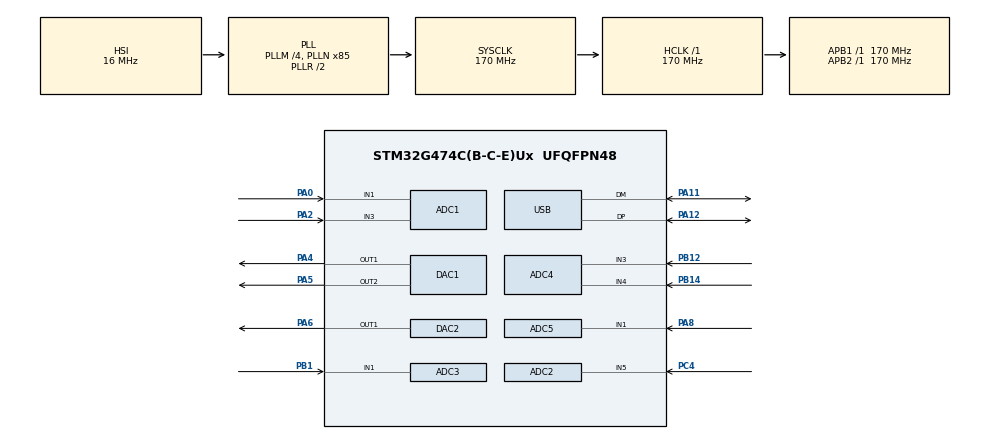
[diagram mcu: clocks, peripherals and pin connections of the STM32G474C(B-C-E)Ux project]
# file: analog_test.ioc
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ADC1.Channel-4\#ChannelRegularConversion=ADC_CHANNEL_1
ADC1.Channel-5\#ChannelRegularConversion=ADC_CHANNEL_3
ADC1.ClockPrescaler=ADC_CLOCK_ASYNC_DIV4
ADC1.EOCSelection=ADC_EOC_SEQ_CONV
ADC1.ExternalTrigConv=ADC_EXTERNALTRIG_T4_TRGO
ADC1.ExternalTrigConvEdge=ADC_EXTERNALTRIGCONVEDGE_RISING
ADC1.NbrOfConversion=2
ADC1.NbrOfConversionFlag=1
ADC1.OffsetNumber-4\#ChannelRegularConversion=ADC_OFFSET_NONE
ADC1.OffsetNumber-5\#ChannelRegularConversion=ADC_OFFSET_NONE
ADC1.OversamplingMode=DISABLE
ADC1.Rank-4\#ChannelRegularConversion=1
ADC1.Rank-5\#ChannelRegularConversion=2
ADC1.SamplingTime-4\#ChannelRegularConversion=ADC_SAMPLETIME_2CYCLES_5
ADC1.SamplingTime-5\#ChannelRegularConversion=ADC_SAMPLETIME_2CYCLES_5
ADC1.master=1
ADC2.Channel-0\#ChannelRegularConversion=ADC_CHANNEL_5
ADC2.ClockPrescaler=ADC_CLOCK_ASYNC_DIV4
ADC2.ExternalTrigConv=ADC_EXTERNALTRIG_T4_TRGO
ADC2.NbrOfConversion=1
ADC2.NbrOfConversionFlag=1
ADC2.OffsetNumber-0\#ChannelRegularConversion=ADC_OFFSET_NONE
ADC2.Rank-0\#ChannelRegularConversion=1
ADC2.SamplingTime-0\#ChannelRegularConversion=ADC_SAMPLETIME_2CYCLES_5
ADC3.Channel-1\#ChannelRegularConversion=ADC_CHANNEL_1
ADC3.ExternalTrigConv=ADC_EXTERNALTRIG_T4_TRGO
ADC3.NbrOfConversion=1
ADC3.NbrOfConversionFlag=1
ADC3.OffsetNumber-1\#ChannelRegularConversion=ADC_OFFSET_NONE
ADC3.Rank-1\#ChannelRegularConversion=1
ADC3.SamplingTime-1\#ChannelRegularConversion=ADC_SAMPLETIME_2CYCLES_5
ADC3.master=1
ADC4.Channel-0\#ChannelRegularConversion=ADC_CHANNEL_3
ADC4.Channel-2\#ChannelRegularConversion=ADC_CHANNEL_4
ADC4.ExternalTrigConv=ADC_EXTERNALTRIG_T4_TRGO
ADC4.NbrOfConversion=2
ADC4.NbrOfConversionFlag=1
ADC4.OffsetNumber-0\#ChannelRegularConversion=ADC_OFFSET_NONE
ADC4.OffsetNumber-2\#ChannelRegularConversion=ADC_OFFSET_NONE
ADC4.Rank-0\#ChannelRegularConversion=1
ADC4.Rank-2\#ChannelRegularConversion=2
ADC4.SamplingTime-0\#ChannelRegularConversion=ADC_SAMPLETIME_2CYCLES_5
ADC4.SamplingTime-2\#ChannelRegularConversion=ADC_SAMPLETIME_2CYCLES_5
ADC5.Channel-1\#ChannelRegularConversion=ADC_CHANNEL_1
ADC5.ExternalTrigConv=ADC_EXTERNALTRIG_T4_TRGO
ADC5.NbrOfConversion=1
ADC5.NbrOfConversionFlag=1
ADC5.OffsetNumber-1\#ChannelRegularConversion=ADC_OFFSET_NONE
ADC5.Rank-1\#ChannelRegularConversion=1
ADC5.SamplingTime-1\#ChannelRegularConversion=ADC_SAMPLETIME_2CYCLES_5
DAC1.DAC_Channel-DAC_OUT2=DAC_CHANNEL_2
DAC1.DAC_DMADoubleDataMode-DAC_OUT1=DISABLE
DAC1.DAC_HighFrequency_OUT1-DAC_OUT1=DAC_HIGH_FREQUENCY_INTERFACE_MODE_ABOVE_160MHZ
DAC1.DAC_Trigger2_OUT1-DAC_OUT1=DAC_TRIGGER_NONE
DAC1.DAC_Trigger_OUT1-DAC_OUT1=DAC_TRIGGER_T3_TRGO
DAC1.DAC_Trigger_OUT2-DAC_OUT2=DAC_TRIGGER_T3_TRGO
DAC1.WaveGeneration_OUT1-DAC_OUT1=DISABLE
DAC2.DAC_HighFrequency_OUT1-DAC_OUT1=DAC_HIGH_FREQUENCY_INTERFACE_MODE_ABOVE_160MHZ
DAC2.DAC_Trigger_OUT1-DAC_OUT1=DAC_TRIGGER_T3_TRGO
Dma.ADC1.3.Direction=DMA_PERIPH_TO_MEMORY
Dma.ADC1.3.EventEnable=DISABLE
Dma.ADC1.3.Instance=DMA1_Channel4
Dma.ADC1.3.MemDataAlignment=DMA_MDATAALIGN_HALFWORD
Dma.ADC1.3.MemInc=DMA_MINC_ENABLE
Dma.ADC1.3.Mode=DMA_NORMAL
Dma.ADC1.3.PeriphDataAlignment=DMA_PDATAALIGN_HALFWORD
Dma.ADC1.3.PeriphInc=DMA_PINC_DISABLE
Dma.ADC1.3.Polarity=HAL_DMAMUX_REQ_GEN_RISING
Dma.ADC1.3.Priority=DMA_PRIORITY_LOW
Dma.ADC1.3.RequestNumber=1
Dma.ADC1.3.SignalID=NONE
Dma.ADC1.3.SyncEnable=DISABLE
Dma.ADC1.3.SyncPolarity=HAL_DMAMUX_SYNC_NO_EVENT
Dma.ADC1.3.SyncRequestNumber=1
Dma.ADC1.3.SyncSignalID=NONE
Dma.ADC2.4.Direction=DMA_PERIPH_TO_MEMORY
Dma.ADC2.4.EventEnable=DISABLE
Dma.ADC2.4.Instance=DMA1_Channel5
Dma.ADC2.4.MemDataAlignment=DMA_MDATAALIGN_HALFWORD
Dma.ADC2.4.MemInc=DMA_MINC_ENABLE
Dma.ADC2.4.Mode=DMA_NORMAL
Dma.ADC2.4.PeriphDataAlignment=DMA_PDATAALIGN_HALFWORD
Dma.ADC2.4.PeriphInc=DMA_PINC_DISABLE
Dma.ADC2.4.Polarity=HAL_DMAMUX_REQ_GEN_RISING
Dma.ADC2.4.Priority=DMA_PRIORITY_LOW
Dma.ADC2.4.RequestNumber=1
Dma.ADC2.4.SignalID=NONE
Dma.ADC2.4.SyncEnable=DISABLE
Dma.ADC2.4.SyncPolarity=HAL_DMAMUX_SYNC_NO_EVENT
Dma.ADC2.4.SyncRequestNumber=1
Dma.ADC2.4.SyncSignalID=NONE
Dma.ADC3.5.Direction=DMA_PERIPH_TO_MEMORY
Dma.ADC3.5.EventEnable=DISABLE
Dma.ADC3.5.Instance=DMA1_Channel6
Dma.ADC3.5.MemDataAlignment=DMA_MDATAALIGN_HALFWORD
Dma.ADC3.5.MemInc=DMA_MINC_ENABLE
Dma.ADC3.5.Mode=DMA_NORMAL
Dma.ADC3.5.PeriphDataAlignment=DMA_PDATAALIGN_HALFWORD
Dma.ADC3.5.PeriphInc=DMA_PINC_DISABLE
Dma.ADC3.5.Polarity=HAL_DMAMUX_REQ_GEN_RISING
Dma.ADC3.5.Priority=DMA_PRIORITY_LOW
Dma.ADC3.5.RequestNumber=1
Dma.ADC3.5.SignalID=NONE
Dma.ADC3.5.SyncEnable=DISABLE
Dma.ADC3.5.SyncPolarity=HAL_DMAMUX_SYNC_NO_EVENT
Dma.ADC3.5.SyncRequestNumber=1
Dma.ADC3.5.SyncSignalID=NONE
Dma.ADC4.7.Direction=DMA_PERIPH_TO_MEMORY
Dma.ADC4.7.EventEnable=DISABLE
Dma.ADC4.7.Instance=DMA1_Channel8
Dma.ADC4.7.MemDataAlignment=DMA_MDATAALIGN_HALFWORD
Dma.ADC4.7.MemInc=DMA_MINC_ENABLE
Dma.ADC4.7.Mode=DMA_NORMAL
Dma.ADC4.7.PeriphDataAlignment=DMA_PDATAALIGN_HALFWORD
Dma.ADC4.7.PeriphInc=DMA_PINC_DISABLE
Dma.ADC4.7.Polarity=HAL_DMAMUX_REQ_GEN_RISING
Dma.ADC4.7.Priority=DMA_PRIORITY_LOW
Dma.ADC4.7.RequestNumber=1
Dma.ADC4.7.SignalID=NONE
Dma.ADC4.7.SyncEnable=DISABLE
Dma.ADC4.7.SyncPolarity=HAL_DMAMUX_SYNC_NO_EVENT
Dma.ADC4.7.SyncRequestNumber=1
Dma.ADC4.7.SyncSignalID=NONE
Dma.ADC5.6.Direction=DMA_PERIPH_TO_MEMORY
Dma.ADC5.6.EventEnable=DISABLE
Dma.ADC5.6.Instance=DMA1_Channel7
Dma.ADC5.6.MemDataAlignment=DMA_MDATAALIGN_HALFWORD
Dma.ADC5.6.MemInc=DMA_MINC_ENABLE
Dma.ADC5.6.Mode=DMA_NORMAL
Dma.ADC5.6.PeriphDataAlignment=DMA_PDATAALIGN_HALFWORD
Dma.ADC5.6.PeriphInc=DMA_PINC_DISABLE
Dma.ADC5.6.Polarity=HAL_DMAMUX_REQ_GEN_RISING
Dma.ADC5.6.Priority=DMA_PRIORITY_LOW
Dma.ADC5.6.RequestNumber=1
Dma.ADC5.6.SignalID=NONE
Dma.ADC5.6.SyncEnable=DISABLE
Dma.ADC5.6.SyncPolarity=HAL_DMAMUX_SYNC_NO_EVENT
Dma.ADC5.6.SyncRequestNumber=1
Dma.ADC5.6.SyncSignalID=NONE
Dma.DAC1_CH1.0.Direction=DMA_MEMORY_TO_PERIPH
Dma.DAC1_CH1.0.EventEnable=DISABLE
Dma.DAC1_CH1.0.Instance=DMA1_Channel1
Dma.DAC1_CH1.0.MemDataAlignment=DMA_MDATAALIGN_HALFWORD
Dma.DAC1_CH1.0.MemInc=DMA_MINC_ENABLE
Dma.DAC1_CH1.0.Mode=DMA_CIRCULAR
Dma.DAC1_CH1.0.PeriphDataAlignment=DMA_PDATAALIGN_WORD
Dma.DAC1_CH1.0.PeriphInc=DMA_PINC_DISABLE
Dma.DAC1_CH1.0.Polarity=HAL_DMAMUX_REQ_GEN_RISING
Dma.DAC1_CH1.0.Priority=DMA_PRIORITY_LOW
Dma.DAC1_CH1.0.RequestNumber=1
Dma.DAC1_CH1.0.SignalID=NONE
Dma.DAC1_CH1.0.SyncEnable=DISABLE
Dma.DAC1_CH1.0.SyncPolarity=HAL_DMAMUX_SYNC_NO_EVENT
Dma.DAC1_CH1.0.SyncRequestNumber=1
Dma.DAC1_CH1.0.SyncSignalID=NONE
Dma.DAC1_CH2.2.Direction=DMA_MEMORY_TO_PERIPH
Dma.DAC1_CH2.2.EventEnable=DISABLE
Dma.DAC1_CH2.2.Instance=DMA1_Channel2
Dma.DAC1_CH2.2.MemDataAlignment=DMA_MDATAALIGN_HALFWORD
Dma.DAC1_CH2.2.MemInc=DMA_MINC_ENABLE
Dma.DAC1_CH2.2.Mode=DMA_CIRCULAR
Dma.DAC1_CH2.2.PeriphDataAlignment=DMA_PDATAALIGN_WORD
Dma.DAC1_CH2.2.PeriphInc=DMA_PINC_DISABLE
Dma.DAC1_CH2.2.Polarity=HAL_DMAMUX_REQ_GEN_RISING
Dma.DAC1_CH2.2.Priority=DMA_PRIORITY_LOW
Dma.DAC1_CH2.2.RequestNumber=1
Dma.DAC1_CH2.2.SignalID=NONE
Dma.DAC1_CH2.2.SyncEnable=DISABLE
Dma.DAC1_CH2.2.SyncPolarity=HAL_DMAMUX_SYNC_NO_EVENT
Dma.DAC1_CH2.2.SyncRequestNumber=1
Dma.DAC1_CH2.2.SyncSignalID=NONE
Dma.DAC2_CH1.1.Direction=DMA_MEMORY_TO_PERIPH
Dma.DAC2_CH1.1.EventEnable=DISABLE
Dma.DAC2_CH1.1.Instance=DMA1_Channel3
Dma.DAC2_CH1.1.MemDataAlignment=DMA_MDATAALIGN_HALFWORD
Dma.DAC2_CH1.1.MemInc=DMA_MINC_ENABLE
Dma.DAC2_CH1.1.Mode=DMA_CIRCULAR
Dma.DAC2_CH1.1.PeriphDataAlignment=DMA_PDATAALIGN_WORD
Dma.DAC2_CH1.1.PeriphInc=DMA_PINC_DISABLE
Dma.DAC2_CH1.1.Polarity=HAL_DMAMUX_REQ_GEN_RISING
Dma.DAC2_CH1.1.Priority=DMA_PRIORITY_LOW
Dma.DAC2_CH1.1.RequestNumber=1
Dma.DAC2_CH1.1.SignalID=NONE
Dma.DAC2_CH1.1.SyncEnable=DISABLE
Dma.DAC2_CH1.1.SyncPolarity=HAL_DMAMUX_SYNC_NO_EVENT
Dma.DAC2_CH1.1.SyncRequestNumber=1
Dma.DAC2_CH1.1.SyncSignalID=NONE
Dma.Request0=DAC1_CH1
Dma.Request1=DAC2_CH1
Dma.Request2=DAC1_CH2
Dma.Request3=ADC1
Dma.Request4=ADC2
Dma.Request5=ADC3
Dma.Request6=ADC5
Dma.Request7=ADC4
Mcu.Family=STM32G4
Mcu.Name=STM32G474C(B-C-E)Ux
Mcu.Package=UFQFPN48
NVIC.ADC1_2_IRQn=true\:0\:0\:false\:false\:true\:true\:true\:true
NVIC.ADC3_IRQn=true\:0\:0\:false\:false\:true\:true\:true\:true
NVIC.ADC4_IRQn=true\:0\:0\:false\:false\:true\:true\:true\:true
NVIC.ADC5_IRQn=true\:0\:0\:false\:false\:true\:true\:true\:true
NVIC.DMA1_Channel1_IRQn=true\:0\:0\:false\:false\:true\:false\:true\:true
NVIC.DMA1_Channel2_IRQn=true\:0\:0\:false\:false\:true\:false\:true\:true
NVIC.DMA1_Channel3_IRQn=true\:0\:0\:false\:false\:true\:false\:true\:true
NVIC.DMA1_Channel4_IRQn=true\:0\:0\:false\:false\:true\:false\:true\:true
NVIC.DMA1_Channel5_IRQn=true\:0\:0\:false\:false\:true\:false\:true\:true
NVIC.DMA1_Channel6_IRQn=true\:0\:0\:false\:false\:true\:false\:true\:true
NVIC.DMA1_Channel7_IRQn=true\:0\:0\:false\:false\:true\:false\:true\:true
NVIC.DMA1_Channel8_IRQn=true\:0\:0\:false\:false\:true\:false\:true\:true
NVIC.PriorityGroup=NVIC_PRIORITYGROUP_4
NVIC.USB_LP_IRQn=true\:0\:0\:false\:false\:true\:false\:true\:true
PA0.Mode=IN1-Single-Ended
PA0.Signal=ADC1_IN1
PA11.Mode=Device
PA11.Signal=USB_DM
PA12.Mode=Device
PA12.Signal=USB_DP
PA13.Mode=Serial_Wire
PA13.Signal=SYS_JTMS-SWDIO
PA14.Mode=Serial_Wire
PA14.Signal=SYS_JTCK-SWCLK
PA2.Mode=IN3-Single-Ended
PA2.Signal=ADC1_IN3
PA4.Signal=COMP_DAC11_group
PA5.Signal=COMP_DAC12_group
PA6.Signal=COMP_DAC21_group
PA8.Mode=IN1-Single-Ended
PA8.Signal=ADC5_IN1
PB1.Mode=IN1-Single-Ended
PB1.Signal=ADC3_IN1
PB12.Mode=IN3-Single-Ended
PB12.Signal=ADC4_IN3
PB14.Mode=IN4-Single-Ended
PB14.Signal=ADC4_IN4
PC14-OSC32_IN.Mode=LSE-External-Oscillator
PC14-OSC32_IN.Signal=RCC_OSC32_IN
PC15-OSC32_OUT.Mode=LSE-External-Oscillator
PC15-OSC32_OUT.Signal=RCC_OSC32_OUT
PC4.Mode=IN5-Single-Ended
PC4.Signal=ADC2_IN5
PF0-OSC_IN.Mode=HSE-External-Oscillator
PF0-OSC_IN.Signal=RCC_OSC_IN
PF1-OSC_OUT.Mode=HSE-External-Oscillator
PF1-OSC_OUT.Signal=RCC_OSC_OUT
ProjectManager.HeapSize=0x200
ProjectManager.StackSize=0x400
ProjectManager.TargetToolchain=STM32CubeIDE
RCC.ADC12Freq_Value=170000000
RCC.ADC345Freq_Value=170000000
RCC.AHBFreq_Value=170000000
RCC.APB1Freq_Value=170000000
RCC.APB1TimFreq_Value=170000000
RCC.APB2Freq_Value=170000000
RCC.APB2TimFreq_Value=170000000
RCC.CK48CLockSelection=RCC_USBCLKSOURCE_HSI48
RCC.CortexFreq_Value=170000000
RCC.EXTERNAL_CLOCK_VALUE=12288000
RCC.HCLKFreq_Value=170000000
RCC.HSE_VALUE=8000000
RCC.HSI48_VALUE=48000000
RCC.HSI_VALUE=16000000
RCC.PLLM=RCC_PLLM_DIV4
RCC.PLLN=85
RCC.PREFETCH_ENABLE=1
RCC.SYSCLKFreq_VALUE=170000000
RCC.SYSCLKSource=RCC_SYSCLKSOURCE_PLLCLK
RCC.USBFreq_Value=48000000
RCC.VCOOutputFreq_Value=340000000
SH.COMP_DAC11_group.0=DAC1_OUT1,DAC_OUT1
SH.COMP_DAC12_group.0=DAC1_OUT2,DAC_OUT2
SH.COMP_DAC21_group.0=DAC2_OUT1,DAC_OUT1
TIM2.AutoReloadPreload=TIM_AUTORELOAD_PRELOAD_ENABLE
TIM2.Prescaler=169
TIM3.AutoReloadPreload=TIM_AUTORELOAD_PRELOAD_ENABLE
TIM3.PeriodNoDither=22
TIM3.Prescaler=169
TIM3.TIM_MasterOutputTrigger=TIM_TRGO_UPDATE
TIM4.AutoReloadPreload=TIM_AUTORELOAD_PRELOAD_ENABLE
TIM4.Prescaler=169
TIM4.TIM_MasterOutputTrigger=TIM_TRGO_UPDATE
USB_DEVICE.CLASS_NAME_FS=CDC
USB_DEVICE.VirtualMode=Cdc
USB_DEVICE.VirtualModeFS=Cdc_FS
VP_SYS_VS_DBSignals.Mode=DisableDeadBatterySignals
VP_TIM2_VS_ClockSourceINT.Mode=Internal
VP_TIM3_VS_ClockSourceINT.Mode=Internal
VP_TIM4_VS_ClockSourceINT.Mode=Internal
VP_USB_DEVICE_VS_USB_DEVICE_CDC_FS.Mode=CDC_FS
board=custom

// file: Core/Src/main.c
/* USER CODE BEGIN Header */
/**
  ******************************************************************************
  * @file           : main.c
  * @brief          : Main program body
  ******************************************************************************
  * @attention
  *
  * Copyright (c) 2025 STMicroelectronics.
  * All rights reserved.
  *
  * This software is licensed under terms that can be found in the LICENSE file
  * in the root directory of this software component.
  * If no LICENSE file comes with this software, it is provided AS-IS.
  *
  ******************************************************************************
  */
/* USER CODE END Header */
#include "main.h"
#include "usb_device.h"

/* USER CODE BEGIN Includes */
#include <math.h>
#include "usbd_cdc_if.h"
/* USER CODE END Includes */

/* USER CODE BEGIN PD */
#define DAC_LEN  300
#define ADC_LEN  300

#define ADC1_CHANNELS 2
#define ADC2_CHANNELS 1
#define ADC3_CHANNELS 1
#define ADC4_CHANNELS 2
#define ADC5_CHANNELS 1

#define CHANNELS (ADC1_CHANNELS+ADC2_CHANNELS+ADC3_CHANNELS+ADC4_CHANNELS+ADC5_CHANNELS)
/* USER CODE END PD */

/* USER CODE BEGIN PM */
#define R_SW adc_sw
#define W_SW (adc_sw+1)%2
#define OFF_ADC1  (ADC_LEN * (0))
#define OFF_ADC2  (ADC_LEN * (ADC1_CHANNELS))
#define OFF_ADC3  (ADC_LEN * (ADC1_CHANNELS + ADC2_CHANNELS))
#define OFF_ADC4  (ADC_LEN * (ADC1_CHANNELS + ADC2_CHANNELS + ADC3_CHANNELS))
#define OFF_ADC5  (ADC_LEN * (ADC1_CHANNELS + ADC2_CHANNELS + ADC3_CHANNELS + ADC4_CHANNELS))

/* USER CODE END PM */

ADC_HandleTypeDef hadc1;
ADC_HandleTypeDef hadc2;
ADC_HandleTypeDef hadc3;
ADC_HandleTypeDef hadc4;
ADC_HandleTypeDef hadc5;
DMA_HandleTypeDef hdma_adc1;
DMA_HandleTypeDef hdma_adc2;
DMA_HandleTypeDef hdma_adc3;
DMA_HandleTypeDef hdma_adc4;
DMA_HandleTypeDef hdma_adc5;

DAC_HandleTypeDef hdac1;
DAC_HandleTypeDef hdac2;
DMA_HandleTypeDef hdma_dac1_ch1;
DMA_HandleTypeDef hdma_dac1_ch2;
DMA_HandleTypeDef hdma_dac2_ch1;

TIM_HandleTypeDef htim2;
TIM_HandleTypeDef htim3;
TIM_HandleTypeDef htim4;

/* USER CODE BEGIN PV */

uint16_t adc_val[2][ADC_LEN*CHANNELS] = {0,};
uint16_t dac10_val[DAC_LEN] = {0,};
uint16_t dac11_val[DAC_LEN] = {0,};
uint16_t dac20_val[DAC_LEN] = {0,};

uint8_t adc_sw = 0;
uint8_t flag_adcReady[5] = {0,};

uint16_t *adc1_val_w;
uint16_t *adc2_val_w;
uint16_t *adc3_val_w;
uint16_t *adc4_val_w;
uint16_t *adc5_val_w;

uint16_t *adc1_val_r;
uint16_t *adc2_val_r;
uint16_t *adc3_val_r;
uint16_t *adc4_val_r;
uint16_t *adc5_val_r;
/* USER CODE END PV */

void SystemClock_Config(void);
static void MX_GPIO_Init(void);
static void MX_DMA_Init(void);
static void MX_DAC1_Init(void);
static void MX_DAC2_Init(void);
static void MX_TIM2_Init(void);
static void MX_TIM3_Init(void);
static void MX_ADC1_Init(void);
static void MX_TIM4_Init(void);
static void MX_ADC2_Init(void);
static void MX_ADC3_Init(void);
static void MX_ADC4_Init(void);
static void MX_ADC5_Init(void);
/* USER CODE BEGIN PFP */
void setPeriod(uint32_t period_us);

int _write(int file, char *ptr, int len)
{
  (void)file;
  int DataIdx;

  CDC_Transmit_FS(ptr, len);
//  for (DataIdx = 0; DataIdx < len; DataIdx++)
//  {
//    __io_putchar(*ptr++);
//  }
  return len;
}

void shiftADCMem(void){
	adc_sw = (adc_sw+1)%2;
	adc1_val_w = &adc_val[W_SW][OFF_ADC1];
	adc2_val_w = &adc_val[W_SW][OFF_ADC2];
	adc3_val_w = &adc_val[W_SW][OFF_ADC3];
	adc4_val_w = &adc_val[W_SW][OFF_ADC4];
	adc5_val_w = &adc_val[W_SW][OFF_ADC5];
	adc1_val_r = &adc_val[R_SW][OFF_ADC1];
	adc2_val_r = &adc_val[R_SW][OFF_ADC2];
	adc3_val_r = &adc_val[R_SW][OFF_ADC3];
	adc4_val_r = &adc_val[R_SW][OFF_ADC4];
	adc5_val_r = &adc_val[R_SW][OFF_ADC5];
}
/* USER CODE END PFP */

int main(void)
{

  /* USER CODE BEGIN 1 */
	float nth = 3;
	int period = 1000000/60/nth/DAC_LEN;

  /* USER CODE END 1 */

  /* MCU Configuration--------------------------------------------------------*/

  /* Reset of all peripherals, Initializes the Flash interface and the Systick. */
  HAL_Init();

  /* Configure the system clock */
  SystemClock_Config();

  /* Initialize all configured peripherals */
  MX_GPIO_Init();
  MX_DMA_Init();
  MX_DAC1_Init();
  MX_DAC2_Init();
  MX_TIM2_Init();
  MX_TIM3_Init();
  MX_ADC1_Init();
  MX_USB_Device_Init();
  MX_TIM4_Init();
  MX_ADC2_Init();
  MX_ADC3_Init();
  MX_ADC4_Init();
  MX_ADC5_Init();
  /* USER CODE BEGIN 2 */

	adc1_val_w = &adc_val[W_SW][OFF_ADC1];
	adc2_val_w = &adc_val[W_SW][OFF_ADC2];
	adc3_val_w = &adc_val[W_SW][OFF_ADC3];
	adc4_val_w = &adc_val[W_SW][OFF_ADC4];
	adc5_val_w = &adc_val[W_SW][OFF_ADC5];
	adc1_val_r = &adc_val[R_SW][OFF_ADC1];
	adc2_val_r = &adc_val[R_SW][OFF_ADC2];
	adc3_val_r = &adc_val[R_SW][OFF_ADC3];
	adc4_val_r = &adc_val[R_SW][OFF_ADC4];
	adc5_val_r = &adc_val[R_SW][OFF_ADC5];

  for (int i = 0; i < DAC_LEN; i++) {
      float s1 = sinf(2.0f * M_PI * nth * (float)i / (float)DAC_LEN);
      float s2 = sinf(2.0f * M_PI * nth * (float)i / (float)DAC_LEN + 2.0f * M_PI / 3.0f);
      float s3 = sinf(2.0f * M_PI * nth * (float)i / (float)DAC_LEN - 2.0f * M_PI / 3.0f);
      uint16_t v1 = (uint16_t)(1300.0f * s1 + 2048.0f);
      uint16_t v2 = (uint16_t)(1300.0f * s2 + 2048.0f);
      uint16_t v3 = (uint16_t)(1300.0f * s3 + 2048.0f);
      dac10_val[i] = v1;
      dac11_val[i] = v2;
      dac20_val[i] = v3;
  }
  setPeriod(period);

  HAL_DAC_Start_DMA(&hdac1, DAC_CHANNEL_1, (uint32_t*)&dac10_val[0], DAC_LEN, DAC_ALIGN_12B_R);
  HAL_DAC_Start_DMA(&hdac1, DAC_CHANNEL_2, (uint32_t*)&dac11_val[0], DAC_LEN, DAC_ALIGN_12B_R);
  HAL_DAC_Start_DMA(&hdac2, DAC_CHANNEL_1, (uint32_t*)&dac20_val[0], DAC_LEN, DAC_ALIGN_12B_R);

  //HAL_TIM_Base_Start(&htim2);
  HAL_TIM_Base_Start(&htim3);

  HAL_ADC_Start_DMA(&hadc1, (uint32_t*)adc1_val_w, ADC_LEN*ADC1_CHANNELS);
  HAL_ADC_Start_DMA(&hadc2, (uint32_t*)adc2_val_w, ADC_LEN*ADC2_CHANNELS);
  HAL_ADC_Start_DMA(&hadc3, (uint32_t*)adc3_val_w, ADC_LEN*ADC3_CHANNELS);
  HAL_ADC_Start_DMA(&hadc4, (uint32_t*)adc4_val_w, ADC_LEN*ADC4_CHANNELS);
  HAL_ADC_Start_DMA(&hadc5, (uint32_t*)adc5_val_w, ADC_LEN*ADC5_CHANNELS);
  HAL_TIM_Base_Start(&htim4);
  /* USER CODE END 2 */

  /* Infinite loop */
  /* USER CODE BEGIN WHILE */
  while (1)
  {
	  if(flag_adcReady[0]==1 &&
		  flag_adcReady[1]==1 &&
		  flag_adcReady[2]==1 &&
		  flag_adcReady[3]==1 &&
		  flag_adcReady[4]==1
	  ){
		  shiftADCMem();
		  HAL_ADC_Start_DMA(&hadc1, (uint32_t*)adc1_val_w, ADC_LEN*ADC1_CHANNELS);
		  HAL_ADC_Start_DMA(&hadc2, (uint32_t*)adc2_val_w, ADC_LEN*ADC2_CHANNELS);
		  HAL_ADC_Start_DMA(&hadc3, (uint32_t*)adc3_val_w, ADC_LEN*ADC3_CHANNELS);
		  HAL_ADC_Start_DMA(&hadc4, (uint32_t*)adc4_val_w, ADC_LEN*ADC4_CHANNELS);
		  HAL_ADC_Start_DMA(&hadc5, (uint32_t*)adc5_val_w, ADC_LEN*ADC5_CHANNELS);

		  CDC_Transmit_FS(adc1_val_r, ADC_LEN*sizeof(uint16_t)*CHANNELS);
		  memset(flag_adcReady,0,5);
	  }
    /* USER CODE END WHILE */

  }
}

void SystemClock_Config(void)
{
  RCC_OscInitTypeDef RCC_OscInitStruct = {0};
  RCC_ClkInitTypeDef RCC_ClkInitStruct = {0};

  /** Configure the main internal regulator output voltage
  */
  HAL_PWREx_ControlVoltageScaling(PWR_REGULATOR_VOLTAGE_SCALE1_BOOST);

  /** Initializes the RCC Oscillators according to the specified parameters
  * in the RCC_OscInitTypeDef structure.
  */
  RCC_OscInitStruct.OscillatorType = RCC_OSCILLATORTYPE_HSI|RCC_OSCILLATORTYPE_HSI48;
  RCC_OscInitStruct.HSIState = RCC_HSI_ON;
  RCC_OscInitStruct.HSICalibrationValue = RCC_HSICALIBRATION_DEFAULT;
  RCC_OscInitStruct.HSI48State = RCC_HSI48_ON;
  RCC_OscInitStruct.PLL.PLLState = RCC_PLL_ON;
  RCC_OscInitStruct.PLL.PLLSource = RCC_PLLSOURCE_HSI;
  RCC_OscInitStruct.PLL.PLLM = RCC_PLLM_DIV4;
  RCC_OscInitStruct.PLL.PLLN = 85;
  RCC_OscInitStruct.PLL.PLLP = RCC_PLLP_DIV2;
  RCC_OscInitStruct.PLL.PLLQ = RCC_PLLQ_DIV2;
  RCC_OscInitStruct.PLL.PLLR = RCC_PLLR_DIV2;
  if (HAL_RCC_OscConfig(&RCC_OscInitStruct) != HAL_OK)
  {
    Error_Handler();
  }

  /** Initializes the CPU, AHB and APB buses clocks
  */
  RCC_ClkInitStruct.ClockType = RCC_CLOCKTYPE_HCLK|RCC_CLOCKTYPE_SYSCLK
                              |RCC_CLOCKTYPE_PCLK1|RCC_CLOCKTYPE_PCLK2;
  RCC_ClkInitStruct.SYSCLKSource = RCC_SYSCLKSOURCE_PLLCLK;
  RCC_ClkInitStruct.AHBCLKDivider = RCC_SYSCLK_DIV1;
  RCC_ClkInitStruct.APB1CLKDivider = RCC_HCLK_DIV1;
  RCC_ClkInitStruct.APB2CLKDivider = RCC_HCLK_DIV1;

  if (HAL_RCC_ClockConfig(&RCC_ClkInitStruct, FLASH_LATENCY_4) != HAL_OK)
  {
    Error_Handler();
  }
}

static void MX_ADC1_Init(void)
{

  ADC_MultiModeTypeDef multimode = {0};
  ADC_ChannelConfTypeDef sConfig = {0};

  /** Common config
  */
  hadc1.Instance = ADC1;
  hadc1.Init.ClockPrescaler = ADC_CLOCK_ASYNC_DIV4;
  hadc1.Init.Resolution = ADC_RESOLUTION_12B;
  hadc1.Init.DataAlign = ADC_DATAALIGN_RIGHT;
  hadc1.Init.GainCompensation = 0;
  hadc1.Init.ScanConvMode = ADC_SCAN_ENABLE;
  hadc1.Init.EOCSelection = ADC_EOC_SEQ_CONV;
  hadc1.Init.LowPowerAutoWait = DISABLE;
  hadc1.Init.ContinuousConvMode = DISABLE;
  hadc1.Init.NbrOfConversion = 2;
  hadc1.Init.DiscontinuousConvMode = DISABLE;
  hadc1.Init.ExternalTrigConv = ADC_EXTERNALTRIG_T4_TRGO;
  hadc1.Init.ExternalTrigConvEdge = ADC_EXTERNALTRIGCONVEDGE_RISING;
  hadc1.Init.DMAContinuousRequests = DISABLE;
  hadc1.Init.Overrun = ADC_OVR_DATA_PRESERVED;
  hadc1.Init.OversamplingMode = DISABLE;
  if (HAL_ADC_Init(&hadc1) != HAL_OK)
  {
    Error_Handler();
  }

  /** Configure the ADC multi-mode
  */
  multimode.Mode = ADC_MODE_INDEPENDENT;
  if (HAL_ADCEx_MultiModeConfigChannel(&hadc1, &multimode) != HAL_OK)
  {
    Error_Handler();
  }

  /** Configure Regular Channel
  */
  sConfig.Channel = ADC_CHANNEL_1;
  sConfig.Rank = ADC_REGULAR_RANK_1;
  sConfig.SamplingTime = ADC_SAMPLETIME_2CYCLES_5;
  sConfig.SingleDiff = ADC_SINGLE_ENDED;
  sConfig.OffsetNumber = ADC_OFFSET_NONE;
  sConfig.Offset = 0;
  if (HAL_ADC_ConfigChannel(&hadc1, &sConfig) != HAL_OK)
  {
    Error_Handler();
  }

  /** Configure Regular Channel
  */
  sConfig.Channel = ADC_CHANNEL_3;
  sConfig.Rank = ADC_REGULAR_RANK_2;
  if (HAL_ADC_ConfigChannel(&hadc1, &sConfig) != HAL_OK)
  {
    Error_Handler();
  }

}

static void MX_ADC2_Init(void)
{

  ADC_ChannelConfTypeDef sConfig = {0};

  /** Common config
  */
  hadc2.Instance = ADC2;
  hadc2.Init.ClockPrescaler = ADC_CLOCK_ASYNC_DIV4;
  hadc2.Init.Resolution = ADC_RESOLUTION_12B;
  hadc2.Init.DataAlign = ADC_DATAALIGN_RIGHT;
  hadc2.Init.GainCompensation = 0;
  hadc2.Init.ScanConvMode = ADC_SCAN_DISABLE;
  hadc2.Init.EOCSelection = ADC_EOC_SINGLE_CONV;
  hadc2.Init.LowPowerAutoWait = DISABLE;
  hadc2.Init.ContinuousConvMode = DISABLE;
  hadc2.Init.NbrOfConversion = 1;
  hadc2.Init.DiscontinuousConvMode = DISABLE;
  hadc2.Init.ExternalTrigConv = ADC_EXTERNALTRIG_T4_TRGO;
  hadc2.Init.ExternalTrigConvEdge = ADC_EXTERNALTRIGCONVEDGE_RISING;
  hadc2.Init.DMAContinuousRequests = DISABLE;
  hadc2.Init.Overrun = ADC_OVR_DATA_PRESERVED;
  hadc2.Init.OversamplingMode = DISABLE;
  if (HAL_ADC_Init(&hadc2) != HAL_OK)
  {
    Error_Handler();
  }

  /** Configure Regular Channel
  */
  sConfig.Channel = ADC_CHANNEL_5;
  sConfig.Rank = ADC_REGULAR_RANK_1;
  sConfig.SamplingTime = ADC_SAMPLETIME_2CYCLES_5;
  sConfig.SingleDiff = ADC_SINGLE_ENDED;
  sConfig.OffsetNumber = ADC_OFFSET_NONE;
  sConfig.Offset = 0;
  if (HAL_ADC_ConfigChannel(&hadc2, &sConfig) != HAL_OK)
  {
    Error_Handler();
  }

}

static void MX_ADC3_Init(void)
{

  ADC_MultiModeTypeDef multimode = {0};
  ADC_ChannelConfTypeDef sConfig = {0};

  /** Common config
  */
  hadc3.Instance = ADC3;
  hadc3.Init.ClockPrescaler = ADC_CLOCK_SYNC_PCLK_DIV4;
  hadc3.Init.Resolution = ADC_RESOLUTION_12B;
  hadc3.Init.DataAlign = ADC_DATAALIGN_RIGHT;
  hadc3.Init.GainCompensation = 0;
  hadc3.Init.ScanConvMode = ADC_SCAN_DISABLE;
  hadc3.Init.EOCSelection = ADC_EOC_SINGLE_CONV;
  hadc3.Init.LowPowerAutoWait = DISABLE;
  hadc3.Init.ContinuousConvMode = DISABLE;
  hadc3.Init.NbrOfConversion = 1;
  hadc3.Init.DiscontinuousConvMode = DISABLE;
  hadc3.Init.ExternalTrigConv = ADC_EXTERNALTRIG_T4_TRGO;
  hadc3.Init.ExternalTrigConvEdge = ADC_EXTERNALTRIGCONVEDGE_RISING;
  hadc3.Init.DMAContinuousRequests = DISABLE;
  hadc3.Init.Overrun = ADC_OVR_DATA_PRESERVED;
  hadc3.Init.OversamplingMode = DISABLE;
  if (HAL_ADC_Init(&hadc3) != HAL_OK)
  {
    Error_Handler();
  }

  /** Configure the ADC multi-mode
  */
  multimode.Mode = ADC_MODE_INDEPENDENT;
  if (HAL_ADCEx_MultiModeConfigChannel(&hadc3, &multimode) != HAL_OK)
  {
    Error_Handler();
  }

  /** Configure Regular Channel
  */
  sConfig.Channel = ADC_CHANNEL_1;
  sConfig.Rank = ADC_REGULAR_RANK_1;
  sConfig.SamplingTime = ADC_SAMPLETIME_2CYCLES_5;
  sConfig.SingleDiff = ADC_SINGLE_ENDED;
  sConfig.OffsetNumber = ADC_OFFSET_NONE;
  sConfig.Offset = 0;
  if (HAL_ADC_ConfigChannel(&hadc3, &sConfig) != HAL_OK)
  {
    Error_Handler();
  }

}

static void MX_ADC4_Init(void)
{

  ADC_ChannelConfTypeDef sConfig = {0};

  /** Common config
  */
  hadc4.Instance = ADC4;
  hadc4.Init.ClockPrescaler = ADC_CLOCK_SYNC_PCLK_DIV4;
  hadc4.Init.Resolution = ADC_RESOLUTION_12B;
  hadc4.Init.DataAlign = ADC_DATAALIGN_RIGHT;
  hadc4.Init.GainCompensation = 0;
  hadc4.Init.ScanConvMode = ADC_SCAN_ENABLE;
  hadc4.Init.EOCSelection = ADC_EOC_SINGLE_CONV;
  hadc4.Init.LowPowerAutoWait = DISABLE;
  hadc4.Init.ContinuousConvMode = DISABLE;
  hadc4.Init.NbrOfConversion = 2;
  hadc4.Init.DiscontinuousConvMode = DISABLE;
  hadc4.Init.ExternalTrigConv = ADC_EXTERNALTRIG_T4_TRGO;
  hadc4.Init.ExternalTrigConvEdge = ADC_EXTERNALTRIGCONVEDGE_RISING;
  hadc4.Init.DMAContinuousRequests = DISABLE;
  hadc4.Init.Overrun = ADC_OVR_DATA_PRESERVED;
  hadc4.Init.OversamplingMode = DISABLE;
  if (HAL_ADC_Init(&hadc4) != HAL_OK)
  {
    Error_Handler();
  }

  /** Configure Regular Channel
  */
  sConfig.Channel = ADC_CHANNEL_3;
  sConfig.Rank = ADC_REGULAR_RANK_1;
  sConfig.SamplingTime = ADC_SAMPLETIME_2CYCLES_5;
  sConfig.SingleDiff = ADC_SINGLE_ENDED;
  sConfig.OffsetNumber = ADC_OFFSET_NONE;
  sConfig.Offset = 0;
  if (HAL_ADC_ConfigChannel(&hadc4, &sConfig) != HAL_OK)
  {
    Error_Handler();
  }

  /** Configure Regular Channel
  */
  sConfig.Channel = ADC_CHANNEL_4;
  sConfig.Rank = ADC_REGULAR_RANK_2;
  if (HAL_ADC_ConfigChannel(&hadc4, &sConfig) != HAL_OK)
  {
    Error_Handler();
  }

}

static void MX_ADC5_Init(void)
{

  ADC_ChannelConfTypeDef sConfig = {0};

  /** Common config
  */
  hadc5.Instance = ADC5;
  hadc5.Init.ClockPrescaler = ADC_CLOCK_SYNC_PCLK_DIV4;
  hadc5.Init.Resolution = ADC_RESOLUTION_12B;
  hadc5.Init.DataAlign = ADC_DATAALIGN_RIGHT;
  hadc5.Init.GainCompensation = 0;
  hadc5.Init.ScanConvMode = ADC_SCAN_DISABLE;
  hadc5.Init.EOCSelection = ADC_EOC_SINGLE_CONV;
  hadc5.Init.LowPowerAutoWait = DISABLE;
  hadc5.Init.ContinuousConvMode = DISABLE;
  hadc5.Init.NbrOfConversion = 1;
  hadc5.Init.DiscontinuousConvMode = DISABLE;
  hadc5.Init.ExternalTrigConv = ADC_EXTERNALTRIG_T4_TRGO;
  hadc5.Init.ExternalTrigConvEdge = ADC_EXTERNALTRIGCONVEDGE_RISING;
  hadc5.Init.DMAContinuousRequests = DISABLE;
  hadc5.Init.Overrun = ADC_OVR_DATA_PRESERVED;
  hadc5.Init.OversamplingMode = DISABLE;
  if (HAL_ADC_Init(&hadc5) != HAL_OK)
  {
    Error_Handler();
  }

  /** Configure Regular Channel
  */
  sConfig.Channel = ADC_CHANNEL_1;
  sConfig.Rank = ADC_REGULAR_RANK_1;
  sConfig.SamplingTime = ADC_SAMPLETIME_2CYCLES_5;
  sConfig.SingleDiff = ADC_SINGLE_ENDED;
  sConfig.OffsetNumber = ADC_OFFSET_NONE;
  sConfig.Offset = 0;
  if (HAL_ADC_ConfigChannel(&hadc5, &sConfig) != HAL_OK)
  {
    Error_Handler();
  }

}

static void MX_DAC1_Init(void)
{

  DAC_ChannelConfTypeDef sConfig = {0};

  /** DAC Initialization
  */
  hdac1.Instance = DAC1;
  if (HAL_DAC_Init(&hdac1) != HAL_OK)
  {
    Error_Handler();
  }

  /** DAC channel OUT1 config
  */
  sConfig.DAC_HighFrequency = DAC_HIGH_FREQUENCY_INTERFACE_MODE_ABOVE_160MHZ;
  sConfig.DAC_DMADoubleDataMode = DISABLE;
  sConfig.DAC_SignedFormat = DISABLE;
  sConfig.DAC_SampleAndHold = DAC_SAMPLEANDHOLD_DISABLE;
  sConfig.DAC_Trigger = DAC_TRIGGER_T3_TRGO;
  sConfig.DAC_Trigger2 = DAC_TRIGGER_NONE;
  sConfig.DAC_OutputBuffer = DAC_OUTPUTBUFFER_ENABLE;
  sConfig.DAC_ConnectOnChipPeripheral = DAC_CHIPCONNECT_EXTERNAL;
  sConfig.DAC_UserTrimming = DAC_TRIMMING_FACTORY;
  if (HAL_DAC_ConfigChannel(&hdac1, &sConfig, DAC_CHANNEL_1) != HAL_OK)
  {
    Error_Handler();
  }

  /** DAC channel OUT2 config
  */
  if (HAL_DAC_ConfigChannel(&hdac1, &sConfig, DAC_CHANNEL_2) != HAL_OK)
  {
    Error_Handler();
  }

}

static void MX_DAC2_Init(void)
{

  DAC_ChannelConfTypeDef sConfig = {0};

  /** DAC Initialization
  */
  hdac2.Instance = DAC2;
  if (HAL_DAC_Init(&hdac2) != HAL_OK)
  {
    Error_Handler();
  }

  /** DAC channel OUT1 config
  */
  sConfig.DAC_HighFrequency = DAC_HIGH_FREQUENCY_INTERFACE_MODE_ABOVE_160MHZ;
  sConfig.DAC_DMADoubleDataMode = DISABLE;
  sConfig.DAC_SignedFormat = DISABLE;
  sConfig.DAC_SampleAndHold = DAC_SAMPLEANDHOLD_DISABLE;
  sConfig.DAC_Trigger = DAC_TRIGGER_T3_TRGO;
  sConfig.DAC_Trigger2 = DAC_TRIGGER_NONE;
  sConfig.DAC_OutputBuffer = DAC_OUTPUTBUFFER_ENABLE;
  sConfig.DAC_ConnectOnChipPeripheral = DAC_CHIPCONNECT_EXTERNAL;
  sConfig.DAC_UserTrimming = DAC_TRIMMING_FACTORY;
  if (HAL_DAC_ConfigChannel(&hdac2, &sConfig, DAC_CHANNEL_1) != HAL_OK)
  {
    Error_Handler();
  }

}

static void MX_TIM2_Init(void)
{

  TIM_ClockConfigTypeDef sClockSourceConfig = {0};
  TIM_MasterConfigTypeDef sMasterConfig = {0};

  htim2.Instance = TIM2;
  htim2.Init.Prescaler = 169;
  htim2.Init.CounterMode = TIM_COUNTERMODE_UP;
  htim2.Init.Period = 4294967295;
  htim2.Init.ClockDivision = TIM_CLOCKDIVISION_DIV1;
  htim2.Init.AutoReloadPreload = TIM_AUTORELOAD_PRELOAD_ENABLE;
  if (HAL_TIM_Base_Init(&htim2) != HAL_OK)
  {
    Error_Handler();
  }
  sClockSourceConfig.ClockSource = TIM_CLOCKSOURCE_INTERNAL;
  if (HAL_TIM_ConfigClockSource(&htim2, &sClockSourceConfig) != HAL_OK)
  {
    Error_Handler();
  }
  sMasterConfig.MasterOutputTrigger = TIM_TRGO_RESET;
  sMasterConfig.MasterSlaveMode = TIM_MASTERSLAVEMODE_DISABLE;
  if (HAL_TIMEx_MasterConfigSynchronization(&htim2, &sMasterConfig) != HAL_OK)
  {
    Error_Handler();
  }

}

static void MX_TIM3_Init(void)
{

  TIM_ClockConfigTypeDef sClockSourceConfig = {0};
  TIM_MasterConfigTypeDef sMasterConfig = {0};

  htim3.Instance = TIM3;
  htim3.Init.Prescaler = 169;
  htim3.Init.CounterMode = TIM_COUNTERMODE_UP;
  htim3.Init.Period = 22;
  htim3.Init.ClockDivision = TIM_CLOCKDIVISION_DIV1;
  htim3.Init.AutoReloadPreload = TIM_AUTORELOAD_PRELOAD_ENABLE;
  if (HAL_TIM_Base_Init(&htim3) != HAL_OK)
  {
    Error_Handler();
  }
  sClockSourceConfig.ClockSource = TIM_CLOCKSOURCE_INTERNAL;
  if (HAL_TIM_ConfigClockSource(&htim3, &sClockSourceConfig) != HAL_OK)
  {
    Error_Handler();
  }
  sMasterConfig.MasterOutputTrigger = TIM_TRGO_UPDATE;
  sMasterConfig.MasterSlaveMode = TIM_MASTERSLAVEMODE_DISABLE;
  if (HAL_TIMEx_MasterConfigSynchronization(&htim3, &sMasterConfig) != HAL_OK)
  {
    Error_Handler();
  }

}

static void MX_TIM4_Init(void)
{

  TIM_ClockConfigTypeDef sClockSourceConfig = {0};
  TIM_MasterConfigTypeDef sMasterConfig = {0};

  htim4.Instance = TIM4;
  htim4.Init.Prescaler = 169;
  htim4.Init.CounterMode = TIM_COUNTERMODE_UP;
  htim4.Init.Period = 65535;
  htim4.Init.ClockDivision = TIM_CLOCKDIVISION_DIV1;
  htim4.Init.AutoReloadPreload = TIM_AUTORELOAD_PRELOAD_ENABLE;
  if (HAL_TIM_Base_Init(&htim4) != HAL_OK)
  {
    Error_Handler();
  }
  sClockSourceConfig.ClockSource = TIM_CLOCKSOURCE_INTERNAL;
  if (HAL_TIM_ConfigClockSource(&htim4, &sClockSourceConfig) != HAL_OK)
  {
    Error_Handler();
  }
  sMasterConfig.MasterOutputTrigger = TIM_TRGO_UPDATE;
  sMasterConfig.MasterSlaveMode = TIM_MASTERSLAVEMODE_DISABLE;
  if (HAL_TIMEx_MasterConfigSynchronization(&htim4, &sMasterConfig) != HAL_OK)
  {
    Error_Handler();
  }

}

static void MX_DMA_Init(void)
{

  /* DMA controller clock enable */
  __HAL_RCC_DMAMUX1_CLK_ENABLE();
  __HAL_RCC_DMA1_CLK_ENABLE();

  /* DMA interrupt init */
  /* DMA1_Channel1_IRQn interrupt configuration */
  HAL_NVIC_SetPriority(DMA1_Channel1_IRQn, 0, 0);
  HAL_NVIC_EnableIRQ(DMA1_Channel1_IRQn);
  /* DMA1_Channel2_IRQn interrupt configuration */
  HAL_NVIC_SetPriority(DMA1_Channel2_IRQn, 0, 0);
  HAL_NVIC_EnableIRQ(DMA1_Channel2_IRQn);
  /* DMA1_Channel3_IRQn interrupt configuration */
  HAL_NVIC_SetPriority(DMA1_Channel3_IRQn, 0, 0);
  HAL_NVIC_EnableIRQ(DMA1_Channel3_IRQn);
  /* DMA1_Channel4_IRQn interrupt configuration */
  HAL_NVIC_SetPriority(DMA1_Channel4_IRQn, 0, 0);
  HAL_NVIC_EnableIRQ(DMA1_Channel4_IRQn);
  /* DMA1_Channel5_IRQn interrupt configuration */
  HAL_NVIC_SetPriority(DMA1_Channel5_IRQn, 0, 0);
  HAL_NVIC_EnableIRQ(DMA1_Channel5_IRQn);
  /* DMA1_Channel6_IRQn interrupt configuration */
  HAL_NVIC_SetPriority(DMA1_Channel6_IRQn, 0, 0);
  HAL_NVIC_EnableIRQ(DMA1_Channel6_IRQn);
  /* DMA1_Channel7_IRQn interrupt configuration */
  HAL_NVIC_SetPriority(DMA1_Channel7_IRQn, 0, 0);
  HAL_NVIC_EnableIRQ(DMA1_Channel7_IRQn);
  /* DMA1_Channel8_IRQn interrupt configuration */
  HAL_NVIC_SetPriority(DMA1_Channel8_IRQn, 0, 0);
  HAL_NVIC_EnableIRQ(DMA1_Channel8_IRQn);

}

static void MX_GPIO_Init(void)
{

  /* GPIO Ports Clock Enable */
  __HAL_RCC_GPIOC_CLK_ENABLE();
  __HAL_RCC_GPIOF_CLK_ENABLE();
  __HAL_RCC_GPIOA_CLK_ENABLE();
  __HAL_RCC_GPIOB_CLK_ENABLE();

}

/* USER CODE BEGIN 4 */
void setPeriod(uint32_t period_us)
{
  HAL_TIM_Base_Stop(&htim3);
  HAL_TIM_Base_DeInit(&htim3);
  HAL_TIM_Base_Stop(&htim4);
  HAL_TIM_Base_DeInit(&htim4);
  htim3.Init.Period = period_us+20;
  htim4.Init.Period = period_us+20;
  if (HAL_TIM_Base_Init(&htim3) != HAL_OK)
  {
    Error_Handler();
  }
  if (HAL_TIM_Base_Init(&htim4) != HAL_OK)
  {
	Error_Handler();
  }
}

void HAL_ADC_ConvCpltCallback(ADC_HandleTypeDef *hadc){
	if(hadc->Instance== ADC1){
		flag_adcReady[0] = 1;
	}else if(hadc->Instance== ADC2){
		flag_adcReady[1] = 1;
	}else if(hadc->Instance== ADC3){
		flag_adcReady[2] = 1;
	}else if(hadc->Instance== ADC4){
		flag_adcReady[3] = 1;
	}else if(hadc->Instance== ADC5){
		flag_adcReady[4] = 1;
	}
}

/* USER CODE END 4 */

void Error_Handler(void)
{
  __disable_irq();
  while (1)
  {
  }
}
